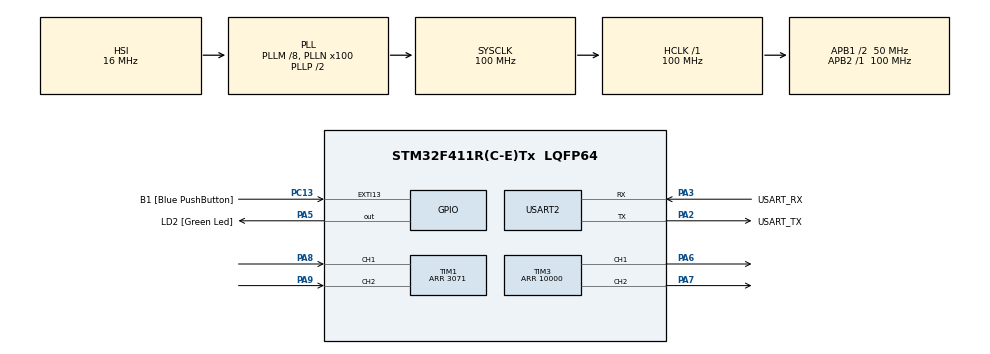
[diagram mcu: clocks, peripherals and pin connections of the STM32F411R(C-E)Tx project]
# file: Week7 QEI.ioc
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Mcu.Family=STM32F4
PC15-OSC32_OUT.Mode=LSE-External-Oscillator
RCC.CortexFreq_Value=100000000
PC13-ANTI_TAMP.GPIO_Label=B1 [Blue PushButton]
PA14.GPIO_Label=TCK
PH1\ -\ OSC_OUT.Mode=HSE-External-Clock-Source
TIM1.EncoderMode=TIM_ENCODERMODE_TI12
RCC.APB1CLKDivider=RCC_HCLK_DIV2
PC14-OSC32_IN.Signal=RCC_OSC32_IN
RCC.SYSCLKSource=RCC_SYSCLKSOURCE_PLLCLK
ProjectManager.StackSize=0x400
PA3.Mode=Asynchronous
PA13.Signal=SYS_JTMS-SWDIO
PH0\ -\ OSC_IN.Mode=HSE-External-Clock-Source
SH.S_TIM1_CH1.0=TIM1_CH1,Encoder_Interface
PH0\ -\ OSC_IN.Signal=RCC_OSC_IN
ProjectManager.TargetToolchain=STM32CubeIDE
RCC.HCLKFreq_Value=100000000
RCC.APB2TimFreq_Value=100000000
TIM3.Period=10000
PA9.Signal=S_TIM1_CH2
PC15-OSC32_OUT.Signal=RCC_OSC32_OUT
RCC.AHBFreq_Value=100000000
TIM3.Channel-PWM\ Generation1\ CH1=TIM_CHANNEL_1
PA5.Signal=GPIO_Output
SH.S_TIM3_CH2.0=TIM3_CH2,PWM Generation2 CH2
NVIC.TIM1_TRG_COM_TIM11_IRQn=true\:0\:0\:false\:false\:true\:true\:true
RCC.HSE_VALUE=8000000
PH1\ -\ OSC_OUT.Signal=RCC_OSC_OUT
board=NUCLEO-F411RE
PC13-ANTI_TAMP.Signal=GPXTI13
RCC.VCOOutputFreq_Value=200000000
RCC.APB2Freq_Value=100000000
PC14-OSC32_IN.Mode=LSE-External-Oscillator
SH.S_TIM1_CH2.0=TIM1_CH2,Encoder_Interface
VP_TIM2_VS_ClockSourceINT.Mode=Internal
PA14.Mode=Serial_Wire
NVIC.TIM2_IRQn=true\:0\:0\:false\:false\:true\:true\:true
PA8.Signal=S_TIM1_CH1
SH.S_TIM3_CH1.0=TIM3_CH1,PWM Generation1 CH1
PA13.Mode=Serial_Wire
Mcu.Name=STM32F411R(C-E)Tx
PA2.Signal=USART2_TX
PA13.GPIO_Label=TMS
RCC.FLatency-AdvancedSettings=FLASH_LATENCY_3
RCC.48MHZClocksFreq_Value=50000000
PB3.Signal=SYS_JTDO-SWO
RCC.SYSCLKFreq_VALUE=100000000
Mcu.Package=LQFP64
TIM2.Prescaler=99
PA6.Signal=S_TIM3_CH1
PA5.GPIO_Label=LD2 [Green Led]
USART2.VirtualMode=VM_ASYNC
PC13-ANTI_TAMP.GPIO_ModeDefaultEXTI=GPIO_MODE_IT_FALLING
PA2.GPIO_Label=USART_TX
PA14.Signal=SYS_JTCK-SWCLK
ProjectManager.HeapSize=0x200
RCC.HSI_VALUE=16000000
NVIC.PriorityGroup=NVIC_PRIORITYGROUP_0
TIM3.Channel-PWM\ Generation2\ CH2=TIM_CHANNEL_2
RCC.PLLM=8
RCC.PLLN=100
RCC.APB1TimFreq_Value=100000000
PA2.Mode=Asynchronous
TIM1.Period=3071
RCC.APB1Freq_Value=50000000
VP_TIM3_VS_ClockSourceINT.Mode=Internal
PA3.GPIO_Label=USART_RX
PA3.Signal=USART2_RX
PA7.Signal=S_TIM3_CH2
PB3.GPIO_Label=SWO

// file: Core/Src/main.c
/* USER CODE BEGIN Header */
/**
 ******************************************************************************
 * @file           : main.c
 * @brief          : Main program body
 ******************************************************************************
 * @attention
 *
 * <h2><center>&copy; Copyright (c) 2021 STMicroelectronics.
 * All rights reserved.</center></h2>
 *
 * This software component is licensed by ST under BSD 3-Clause license,
 * the "License"; You may not use this file except in compliance with the
 * License. You may obtain a copy of the License at:
 *                        opensource.org/licenses/BSD-3-Clause
 *
 ******************************************************************************
 */
/* USER CODE END Header */
#include "main.h"

TIM_HandleTypeDef htim1;
TIM_HandleTypeDef htim2;
TIM_HandleTypeDef htim3;

UART_HandleTypeDef huart2;

/* USER CODE BEGIN PV */
uint64_t _micros = 0;
float EncoderVel = 0;
float PWMOut1 = 0;
float PWMOut2 = 0;
uint64_t Timestamp_Encoder = 0;
float error = 0;
float prever1 = 0;
float sumer = 0;
float kp = 0;
float ki = 0;
float kd = 0;
float req = 0;
float reqq = 0;
float envel = 0;
/* USER CODE END PV */

void SystemClock_Config(void);
static void MX_GPIO_Init(void);
static void MX_USART2_UART_Init(void);
static void MX_TIM1_Init(void);
static void MX_TIM2_Init(void);
static void MX_TIM3_Init(void);
/* USER CODE BEGIN PFP */
uint64_t micros();
float EncoderVelocity_Update();

/* USER CODE END PFP */

int main(void) {

	/* MCU Configuration--------------------------------------------------------*/

	/* Reset of all peripherals, Initializes the Flash interface and the Systick. */
	HAL_Init();

	/* Configure the system clock */
	SystemClock_Config();

	/* Initialize all configured peripherals */
	MX_GPIO_Init();
	MX_USART2_UART_Init();
	MX_TIM1_Init();
	MX_TIM2_Init();
	MX_TIM3_Init();
	/* USER CODE BEGIN 2 */
	HAL_TIM_Base_Start_IT(&htim2);
	HAL_TIM_Encoder_Start(&htim1, TIM_CHANNEL_ALL);

	HAL_TIM_PWM_Start(&htim3, TIM_CHANNEL_1);
	HAL_TIM_PWM_Start(&htim3, TIM_CHANNEL_2);

	/* USER CODE END 2 */

	/* Infinite loop */
	while (1) {

		/* USER CODE BEGIN 3 */

		//RAW Read
//		if (micros() - Timestamp_Encoder >= 1000)
//		{
//			Timestamp_Encoder = micros();
//			EncoderVel = EncoderVelocity_Update();
//		}
//Add LPF?
		if (micros() - Timestamp_Encoder >= 1000) {
			Timestamp_Encoder = micros();
			EncoderVel = (EncoderVel * 99 + EncoderVelocity_Update()) / 100.0;
			error = reqq - EncoderVel;
			sumer = sumer + error;
			PWMOut1 = kp * error + ki * sumer + kd * (error - prever1);
			prever1 = error;
			if (PWMOut1 < 0) {
				__HAL_TIM_SET_COMPARE(&htim3, TIM_CHANNEL_1, PWMOut2);
				__HAL_TIM_SET_COMPARE(&htim3, TIM_CHANNEL_2, (-1)*PWMOut1);
			}
			if (PWMOut1 > 0) {
				__HAL_TIM_SET_COMPARE(&htim3, TIM_CHANNEL_1, PWMOut1);
				__HAL_TIM_SET_COMPARE(&htim3, TIM_CHANNEL_2, PWMOut2);
			}
			if (PWMOut1 == 0) {
				__HAL_TIM_SET_COMPARE(&htim3, TIM_CHANNEL_1, 0);
				__HAL_TIM_SET_COMPARE(&htim3, TIM_CHANNEL_2, 0);
			}

		}

	}
	/* USER CODE END 3 */
}

void SystemClock_Config(void) {
	RCC_OscInitTypeDef RCC_OscInitStruct = { 0 };
	RCC_ClkInitTypeDef RCC_ClkInitStruct = { 0 };

	/** Configure the main internal regulator output voltage
	 */
	__HAL_RCC_PWR_CLK_ENABLE();
	__HAL_PWR_VOLTAGESCALING_CONFIG(PWR_REGULATOR_VOLTAGE_SCALE1);
	/** Initializes the RCC Oscillators according to the specified parameters
	 * in the RCC_OscInitTypeDef structure.
	 */
	RCC_OscInitStruct.OscillatorType = RCC_OSCILLATORTYPE_HSI;
	RCC_OscInitStruct.HSIState = RCC_HSI_ON;
	RCC_OscInitStruct.HSICalibrationValue = RCC_HSICALIBRATION_DEFAULT;
	RCC_OscInitStruct.PLL.PLLState = RCC_PLL_ON;
	RCC_OscInitStruct.PLL.PLLSource = RCC_PLLSOURCE_HSI;
	RCC_OscInitStruct.PLL.PLLM = 8;
	RCC_OscInitStruct.PLL.PLLN = 100;
	RCC_OscInitStruct.PLL.PLLP = RCC_PLLP_DIV2;
	RCC_OscInitStruct.PLL.PLLQ = 4;
	if (HAL_RCC_OscConfig(&RCC_OscInitStruct) != HAL_OK) {
		Error_Handler();
	}
	/** Initializes the CPU, AHB and APB buses clocks
	 */
	RCC_ClkInitStruct.ClockType = RCC_CLOCKTYPE_HCLK | RCC_CLOCKTYPE_SYSCLK
			| RCC_CLOCKTYPE_PCLK1 | RCC_CLOCKTYPE_PCLK2;
	RCC_ClkInitStruct.SYSCLKSource = RCC_SYSCLKSOURCE_PLLCLK;
	RCC_ClkInitStruct.AHBCLKDivider = RCC_SYSCLK_DIV1;
	RCC_ClkInitStruct.APB1CLKDivider = RCC_HCLK_DIV2;
	RCC_ClkInitStruct.APB2CLKDivider = RCC_HCLK_DIV1;

	if (HAL_RCC_ClockConfig(&RCC_ClkInitStruct, FLASH_LATENCY_3) != HAL_OK) {
		Error_Handler();
	}
}

static void MX_TIM1_Init(void) {

	TIM_Encoder_InitTypeDef sConfig = { 0 };
	TIM_MasterConfigTypeDef sMasterConfig = { 0 };

	htim1.Instance = TIM1;
	htim1.Init.Prescaler = 0;
	htim1.Init.CounterMode = TIM_COUNTERMODE_UP;
	htim1.Init.Period = 3071;
	htim1.Init.ClockDivision = TIM_CLOCKDIVISION_DIV1;
	htim1.Init.RepetitionCounter = 0;
	htim1.Init.AutoReloadPreload = TIM_AUTORELOAD_PRELOAD_DISABLE;
	sConfig.EncoderMode = TIM_ENCODERMODE_TI12;
	sConfig.IC1Polarity = TIM_ICPOLARITY_RISING;
	sConfig.IC1Selection = TIM_ICSELECTION_DIRECTTI;
	sConfig.IC1Prescaler = TIM_ICPSC_DIV1;
	sConfig.IC1Filter = 0;
	sConfig.IC2Polarity = TIM_ICPOLARITY_RISING;
	sConfig.IC2Selection = TIM_ICSELECTION_DIRECTTI;
	sConfig.IC2Prescaler = TIM_ICPSC_DIV1;
	sConfig.IC2Filter = 0;
	if (HAL_TIM_Encoder_Init(&htim1, &sConfig) != HAL_OK) {
		Error_Handler();
	}
	sMasterConfig.MasterOutputTrigger = TIM_TRGO_RESET;
	sMasterConfig.MasterSlaveMode = TIM_MASTERSLAVEMODE_DISABLE;
	if (HAL_TIMEx_MasterConfigSynchronization(&htim1, &sMasterConfig)
			!= HAL_OK) {
		Error_Handler();
	}

}

static void MX_TIM2_Init(void) {

	TIM_ClockConfigTypeDef sClockSourceConfig = { 0 };
	TIM_MasterConfigTypeDef sMasterConfig = { 0 };

	htim2.Instance = TIM2;
	htim2.Init.Prescaler = 99;
	htim2.Init.CounterMode = TIM_COUNTERMODE_UP;
	htim2.Init.Period = 4294967295;
	htim2.Init.ClockDivision = TIM_CLOCKDIVISION_DIV1;
	htim2.Init.AutoReloadPreload = TIM_AUTORELOAD_PRELOAD_DISABLE;
	if (HAL_TIM_Base_Init(&htim2) != HAL_OK) {
		Error_Handler();
	}
	sClockSourceConfig.ClockSource = TIM_CLOCKSOURCE_INTERNAL;
	if (HAL_TIM_ConfigClockSource(&htim2, &sClockSourceConfig) != HAL_OK) {
		Error_Handler();
	}
	sMasterConfig.MasterOutputTrigger = TIM_TRGO_RESET;
	sMasterConfig.MasterSlaveMode = TIM_MASTERSLAVEMODE_DISABLE;
	if (HAL_TIMEx_MasterConfigSynchronization(&htim2, &sMasterConfig)
			!= HAL_OK) {
		Error_Handler();
	}

}

static void MX_TIM3_Init(void) {

	TIM_ClockConfigTypeDef sClockSourceConfig = { 0 };
	TIM_MasterConfigTypeDef sMasterConfig = { 0 };
	TIM_OC_InitTypeDef sConfigOC = { 0 };

	htim3.Instance = TIM3;
	htim3.Init.Prescaler = 0;
	htim3.Init.CounterMode = TIM_COUNTERMODE_UP;
	htim3.Init.Period = 10000;
	htim3.Init.ClockDivision = TIM_CLOCKDIVISION_DIV1;
	htim3.Init.AutoReloadPreload = TIM_AUTORELOAD_PRELOAD_DISABLE;
	if (HAL_TIM_Base_Init(&htim3) != HAL_OK) {
		Error_Handler();
	}
	sClockSourceConfig.ClockSource = TIM_CLOCKSOURCE_INTERNAL;
	if (HAL_TIM_ConfigClockSource(&htim3, &sClockSourceConfig) != HAL_OK) {
		Error_Handler();
	}
	if (HAL_TIM_PWM_Init(&htim3) != HAL_OK) {
		Error_Handler();
	}
	sMasterConfig.MasterOutputTrigger = TIM_TRGO_RESET;
	sMasterConfig.MasterSlaveMode = TIM_MASTERSLAVEMODE_DISABLE;
	if (HAL_TIMEx_MasterConfigSynchronization(&htim3, &sMasterConfig)
			!= HAL_OK) {
		Error_Handler();
	}
	sConfigOC.OCMode = TIM_OCMODE_PWM1;
	sConfigOC.Pulse = 0;
	sConfigOC.OCPolarity = TIM_OCPOLARITY_HIGH;
	sConfigOC.OCFastMode = TIM_OCFAST_DISABLE;
	if (HAL_TIM_PWM_ConfigChannel(&htim3, &sConfigOC, TIM_CHANNEL_1)
			!= HAL_OK) {
		Error_Handler();
	}
	if (HAL_TIM_PWM_ConfigChannel(&htim3, &sConfigOC, TIM_CHANNEL_2)
			!= HAL_OK) {
		Error_Handler();
	}
	HAL_TIM_MspPostInit(&htim3);

}

static void MX_USART2_UART_Init(void) {

	huart2.Instance = USART2;
	huart2.Init.BaudRate = 115200;
	huart2.Init.WordLength = UART_WORDLENGTH_8B;
	huart2.Init.StopBits = UART_STOPBITS_1;
	huart2.Init.Parity = UART_PARITY_NONE;
	huart2.Init.Mode = UART_MODE_TX_RX;
	huart2.Init.HwFlowCtl = UART_HWCONTROL_NONE;
	huart2.Init.OverSampling = UART_OVERSAMPLING_16;
	if (HAL_UART_Init(&huart2) != HAL_OK) {
		Error_Handler();
	}

}

static void MX_GPIO_Init(void) {
	GPIO_InitTypeDef GPIO_InitStruct = { 0 };

	/* GPIO Ports Clock Enable */
	__HAL_RCC_GPIOC_CLK_ENABLE();
	__HAL_RCC_GPIOH_CLK_ENABLE();
	__HAL_RCC_GPIOA_CLK_ENABLE();
	__HAL_RCC_GPIOB_CLK_ENABLE();

	/*Configure GPIO pin Output Level */
	HAL_GPIO_WritePin(LD2_GPIO_Port, LD2_Pin, GPIO_PIN_RESET);

	/*Configure GPIO pin : B1_Pin */
	GPIO_InitStruct.Pin = B1_Pin;
	GPIO_InitStruct.Mode = GPIO_MODE_IT_FALLING;
	GPIO_InitStruct.Pull = GPIO_NOPULL;
	HAL_GPIO_Init(B1_GPIO_Port, &GPIO_InitStruct);

	/*Configure GPIO pin : LD2_Pin */
	GPIO_InitStruct.Pin = LD2_Pin;
	GPIO_InitStruct.Mode = GPIO_MODE_OUTPUT_PP;
	GPIO_InitStruct.Pull = GPIO_NOPULL;
	GPIO_InitStruct.Speed = GPIO_SPEED_FREQ_LOW;
	HAL_GPIO_Init(LD2_GPIO_Port, &GPIO_InitStruct);

}

/* USER CODE BEGIN 4 */
#define  HTIM_ENCODER htim1
#define  MAX_SUBPOSITION_OVERFLOW 1536
#define  MAX_ENCODER_PERIOD 3072

float EncoderVelocity_Update() {
	//Save Last state
	static uint32_t EncoderLastPosition = 0;
	static uint64_t EncoderLastTimestamp = 0;

	//read data
	uint32_t EncoderNowPosition = HTIM_ENCODER.Instance->CNT;
	uint64_t EncoderNowTimestamp = micros();

	int32_t EncoderPositionDiff;
	uint64_t EncoderTimeDiff;

	EncoderTimeDiff = EncoderNowTimestamp - EncoderLastTimestamp;
	EncoderPositionDiff = EncoderNowPosition - EncoderLastPosition;

	//compensate overflow and underflow
	if (EncoderPositionDiff >= MAX_SUBPOSITION_OVERFLOW) {
		EncoderPositionDiff -= MAX_ENCODER_PERIOD;
	} else if (-EncoderPositionDiff >= MAX_SUBPOSITION_OVERFLOW) {
		EncoderPositionDiff += MAX_ENCODER_PERIOD;
	}

	//Update Position and time
	EncoderLastPosition = EncoderNowPosition;
	EncoderLastTimestamp = EncoderNowTimestamp;

	//Calculate velocity
	//EncoderTimeDiff is in uS
	return ((EncoderPositionDiff * 1000000) / (float) EncoderTimeDiff) * 60
			/ 3072.0;

}

void HAL_TIM_PeriodElapsedCallback(TIM_HandleTypeDef *htim) {
	if (htim == &htim2) {
		_micros += 4294967295;
	}
}
uint64_t micros() {
	return _micros + htim2.Instance->CNT;
}
/* USER CODE END 4 */

void Error_Handler(void) {
	__disable_irq();
	while (1) {
	}
}

/************************ (C) COPYRIGHT STMicroelectronics *****END OF FILE****/
